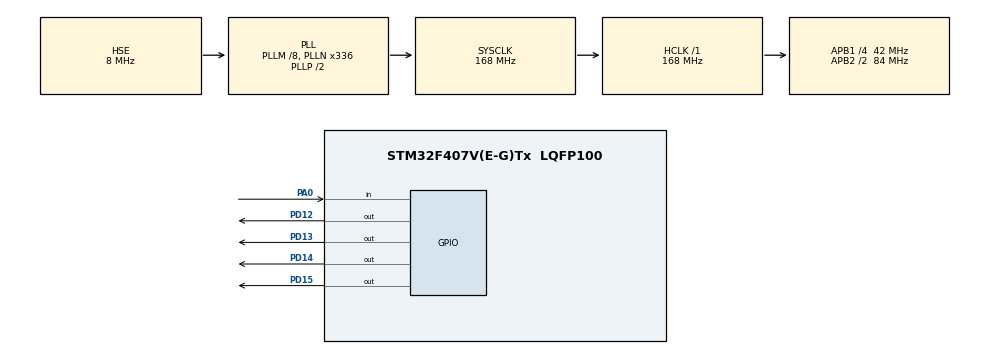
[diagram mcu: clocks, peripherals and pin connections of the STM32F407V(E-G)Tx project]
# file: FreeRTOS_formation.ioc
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FREERTOS.BinarySemaphores01=KEY,Dynamic,NULL
FREERTOS.Tasks01=defaultTask,0,128,StartDefaultTask,Default,NULL,Dynamic,NULL,NULL;TASK_1,0,128,task_1_fc,Default,NULL,Dynamic,NULL,NULL;TASK_2,0,128,task_2_fc,Default,NULL,Dynamic,NULL,NULL;TASK_3,0,128,task_3_fc,Default,NULL,Dynamic,NULL,NULL
FREERTOS.configUSE_NEWLIB_REENTRANT=1
Mcu.Family=STM32F4
Mcu.Name=STM32F407V(E-G)Tx
Mcu.Package=LQFP100
NVIC.PriorityGroup=NVIC_PRIORITYGROUP_4
NVIC.TIM1_UP_TIM10_IRQn=true\:15\:0\:false\:false\:true\:false\:false\:true\:true
NVIC.TimeBase=TIM1_UP_TIM10_IRQn
NVIC.TimeBaseIP=TIM1
PA0-WKUP.Signal=GPIO_Input
PD12.Signal=GPIO_Output
PD13.Signal=GPIO_Output
PD14.Signal=GPIO_Output
PD15.Signal=GPIO_Output
PH0-OSC_IN.Mode=HSE-External-Oscillator
PH0-OSC_IN.Signal=RCC_OSC_IN
PH1-OSC_OUT.Mode=HSE-External-Oscillator
PH1-OSC_OUT.Signal=RCC_OSC_OUT
ProjectManager.HeapSize=0x200
ProjectManager.StackSize=0x400
ProjectManager.TargetToolchain=STM32CubeIDE
RCC.48MHZClocksFreq_Value=48000000
RCC.AHBFreq_Value=168000000
RCC.APB1CLKDivider=RCC_HCLK_DIV4
RCC.APB1Freq_Value=42000000
RCC.APB1TimFreq_Value=84000000
RCC.APB2CLKDivider=RCC_HCLK_DIV2
RCC.APB2Freq_Value=84000000
RCC.APB2TimFreq_Value=168000000
RCC.CortexFreq_Value=168000000
RCC.HCLKFreq_Value=168000000
RCC.HSE_VALUE=8000000
RCC.HSI_VALUE=16000000
RCC.PLLM=8
RCC.PLLN=336
RCC.PLLQ=7
RCC.PLLSourceVirtual=RCC_PLLSOURCE_HSE
RCC.SYSCLKFreq_VALUE=168000000
RCC.SYSCLKSource=RCC_SYSCLKSOURCE_PLLCLK
RCC.VCOOutputFreq_Value=336000000
VP_FREERTOS_VS_CMSIS_V1.Mode=CMSIS_V1
VP_SYS_VS_tim1.Mode=TIM1
board=STM32F407G-DISC1

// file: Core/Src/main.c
/* USER CODE BEGIN Header */
/**
  ******************************************************************************
  * @file           : main.c
  * @brief          : Main program body
  ******************************************************************************
  * @attention
  *
  * Copyright (c) 2024 STMicroelectronics.
  * All rights reserved.
  *
  * This software is licensed under terms that can be found in the LICENSE file
  * in the root directory of this software component.
  * If no LICENSE file comes with this software, it is provided AS-IS.
  *
  ******************************************************************************
  */
/* USER CODE END Header */
#include "main.h"
#include "cmsis_os.h"

/* USER CODE BEGIN Includes */
#include "stdio.h"
/* USER CODE END Includes */

osThreadId defaultTaskHandle;
osThreadId TASK_1Handle;
osThreadId TASK_2Handle;
osThreadId TASK_3Handle;
osSemaphoreId KEYHandle;

void SystemClock_Config(void);
static void MX_GPIO_Init(void);
void StartDefaultTask(void const * argument);
void task_1_fc(void const * argument);
void task_2_fc(void const * argument);
void task_3_fc(void const * argument);

/* USER CODE BEGIN 0 */
int _write(int file, char *ptr, int len)
{
  (void)file;
  int DataIdx;

  for (DataIdx = 0; DataIdx < len; DataIdx++)
  {
    ITM_SendChar(*ptr++);
  }
  return len;
}
/* USER CODE END 0 */

int main(void)
{

  /* MCU Configuration--------------------------------------------------------*/

  /* Reset of all peripherals, Initializes the Flash interface and the Systick. */
  HAL_Init();

  /* Configure the system clock */
  SystemClock_Config();

  /* Initialize all configured peripherals */
  MX_GPIO_Init();

  /* Create the semaphores(s) */
  /* definition and creation of KEY */
  osSemaphoreDef(KEY);
  KEYHandle = osSemaphoreCreate(osSemaphore(KEY), 1);

  /* Create the thread(s) */
  /* definition and creation of defaultTask */
  osThreadDef(defaultTask, StartDefaultTask, osPriorityNormal, 0, 128);
  defaultTaskHandle = osThreadCreate(osThread(defaultTask), NULL);

  /* definition and creation of TASK_1 */
  osThreadDef(TASK_1, task_1_fc, osPriorityNormal, 0, 128);
  TASK_1Handle = osThreadCreate(osThread(TASK_1), NULL);

  /* definition and creation of TASK_2 */
  osThreadDef(TASK_2, task_2_fc, osPriorityNormal, 0, 128);
  TASK_2Handle = osThreadCreate(osThread(TASK_2), NULL);

  /* definition and creation of TASK_3 */
  osThreadDef(TASK_3, task_3_fc, osPriorityNormal, 0, 128);
  TASK_3Handle = osThreadCreate(osThread(TASK_3), NULL);

  /* Start scheduler */
  osKernelStart();

  /* We should never get here as control is now taken by the scheduler */
  /* Infinite loop */
  while (1)
  {

  }
}

void SystemClock_Config(void)
{
  RCC_OscInitTypeDef RCC_OscInitStruct = {0};
  RCC_ClkInitTypeDef RCC_ClkInitStruct = {0};

  /** Configure the main internal regulator output voltage
  */
  __HAL_RCC_PWR_CLK_ENABLE();
  __HAL_PWR_VOLTAGESCALING_CONFIG(PWR_REGULATOR_VOLTAGE_SCALE1);

  /** Initializes the RCC Oscillators according to the specified parameters
  * in the RCC_OscInitTypeDef structure.
  */
  RCC_OscInitStruct.OscillatorType = RCC_OSCILLATORTYPE_HSE;
  RCC_OscInitStruct.HSEState = RCC_HSE_ON;
  RCC_OscInitStruct.PLL.PLLState = RCC_PLL_ON;
  RCC_OscInitStruct.PLL.PLLSource = RCC_PLLSOURCE_HSE;
  RCC_OscInitStruct.PLL.PLLM = 8;
  RCC_OscInitStruct.PLL.PLLN = 336;
  RCC_OscInitStruct.PLL.PLLP = RCC_PLLP_DIV2;
  RCC_OscInitStruct.PLL.PLLQ = 7;
  if (HAL_RCC_OscConfig(&RCC_OscInitStruct) != HAL_OK)
  {
    Error_Handler();
  }

  /** Initializes the CPU, AHB and APB buses clocks
  */
  RCC_ClkInitStruct.ClockType = RCC_CLOCKTYPE_HCLK|RCC_CLOCKTYPE_SYSCLK
                              |RCC_CLOCKTYPE_PCLK1|RCC_CLOCKTYPE_PCLK2;
  RCC_ClkInitStruct.SYSCLKSource = RCC_SYSCLKSOURCE_PLLCLK;
  RCC_ClkInitStruct.AHBCLKDivider = RCC_SYSCLK_DIV1;
  RCC_ClkInitStruct.APB1CLKDivider = RCC_HCLK_DIV4;
  RCC_ClkInitStruct.APB2CLKDivider = RCC_HCLK_DIV2;

  if (HAL_RCC_ClockConfig(&RCC_ClkInitStruct, FLASH_LATENCY_5) != HAL_OK)
  {
    Error_Handler();
  }
}

static void MX_GPIO_Init(void)
{
  GPIO_InitTypeDef GPIO_InitStruct = {0};

  /* GPIO Ports Clock Enable */
  __HAL_RCC_GPIOH_CLK_ENABLE();
  __HAL_RCC_GPIOA_CLK_ENABLE();
  __HAL_RCC_GPIOD_CLK_ENABLE();

  /*Configure GPIO pin Output Level */
  HAL_GPIO_WritePin(GPIOD, GPIO_PIN_12|GPIO_PIN_13|GPIO_PIN_14|GPIO_PIN_15, GPIO_PIN_RESET);

  /*Configure GPIO pin : PA0 */
  GPIO_InitStruct.Pin = GPIO_PIN_0;
  GPIO_InitStruct.Mode = GPIO_MODE_INPUT;
  GPIO_InitStruct.Pull = GPIO_NOPULL;
  HAL_GPIO_Init(GPIOA, &GPIO_InitStruct);

  /*Configure GPIO pins : PD12 PD13 PD14 PD15 */
  GPIO_InitStruct.Pin = GPIO_PIN_12|GPIO_PIN_13|GPIO_PIN_14|GPIO_PIN_15;
  GPIO_InitStruct.Mode = GPIO_MODE_OUTPUT_PP;
  GPIO_InitStruct.Pull = GPIO_NOPULL;
  GPIO_InitStruct.Speed = GPIO_SPEED_FREQ_LOW;
  HAL_GPIO_Init(GPIOD, &GPIO_InitStruct);

}

/* USER CODE BEGIN 4 */
/*
 * void HAL_GPIO_EXTI_Callback(uint16_t GPIO_Pin)
{
	if (GPIO_Pin == GPIO_PIN_0) {
		osThreadSuspend(LEDHandle);
		printf("LED_EXT-INTERRUPT_RESUMED\n");
	}
}
*/
/* USER CODE END 4 */

void StartDefaultTask(void const * argument)
{
  /* USER CODE BEGIN 5 */
	int i = 0;

  /* Infinite loop */
  for(;;)
  {
/*	  printf("Counter: %d \n", i);
	  HAL_GPIO_TogglePin(GPIOD, GPIO_PIN_14);
    osDelay(500);
   if (i == 5) {
	   printf("LED Task suspended!\n");
	   osThreadSuspend(LEDHandle);
   }
   if (i == 15) {
	   printf("LED Task resumed\n");
   	   osThreadResume(LEDHandle);
   	   //osThreadTerminate(LEDHandle);
   }
   i++;

	  osSemaphoreWait(KEYHandle, osWaitForever);
	  HAL_GPIO_TogglePin(GPIOD, GPIO_PIN_15);
	  printf("Semaphore taken default task \n");

	  while(!HAL_GPIO_ReadPin(GPIOA, GPIO_PIN_0));
	  osSemaphoreRelease(KEYHandle);
	  printf("Semaphore released \n"); */

	  printf("Default task running");
	  HAL_GPIO_TogglePin(GPIOD, GPIO_PIN_15);
	  osDelay(1000);
	  osThreadResume(TASK_1Handle);
	  osThreadSuspend(defaultTaskHandle);
  }
  /* USER CODE END 5 */
}

void task_1_fc(void const * argument)
{
  /* USER CODE BEGIN task_1_fc */
  /* Infinite loop */
  for(;;)
  {
	  printf("Task-1 running");
	  HAL_GPIO_TogglePin(GPIOD, GPIO_PIN_14);
	  osDelay(1000);
	  osThreadResume(TASK_2Handle);
	  osThreadSuspend(TASK_1Handle);
  }
  /* USER CODE END task_1_fc */
}

void task_2_fc(void const * argument)
{
  /* USER CODE BEGIN task_2_fc */
  /* Infinite loop */
  for(;;)
  {
	  printf("Task-2 running");
	  HAL_GPIO_TogglePin(GPIOD, GPIO_PIN_13);
	  osDelay(1000);
	  osThreadResume(TASK_3Handle);
	  osThreadSuspend(TASK_2Handle);
  }
  /* USER CODE END task_2_fc */
}

void task_3_fc(void const * argument)
{
  /* USER CODE BEGIN task_3_fc */
  /* Infinite loop */
  for(;;)
  {
	  printf("Task-3 running");
	  HAL_GPIO_TogglePin(GPIOD, GPIO_PIN_12);
	  osDelay(1000);
	  osThreadResume(defaultTaskHandle);
	  osThreadSuspend(TASK_3Handle);
  }
  /* USER CODE END task_3_fc */
}

void HAL_TIM_PeriodElapsedCallback(TIM_HandleTypeDef *htim)
{
  if (htim->Instance == TIM1) {
    HAL_IncTick();
  }
}

void Error_Handler(void)
{
  __disable_irq();
  while (1)
  {
  }
}
